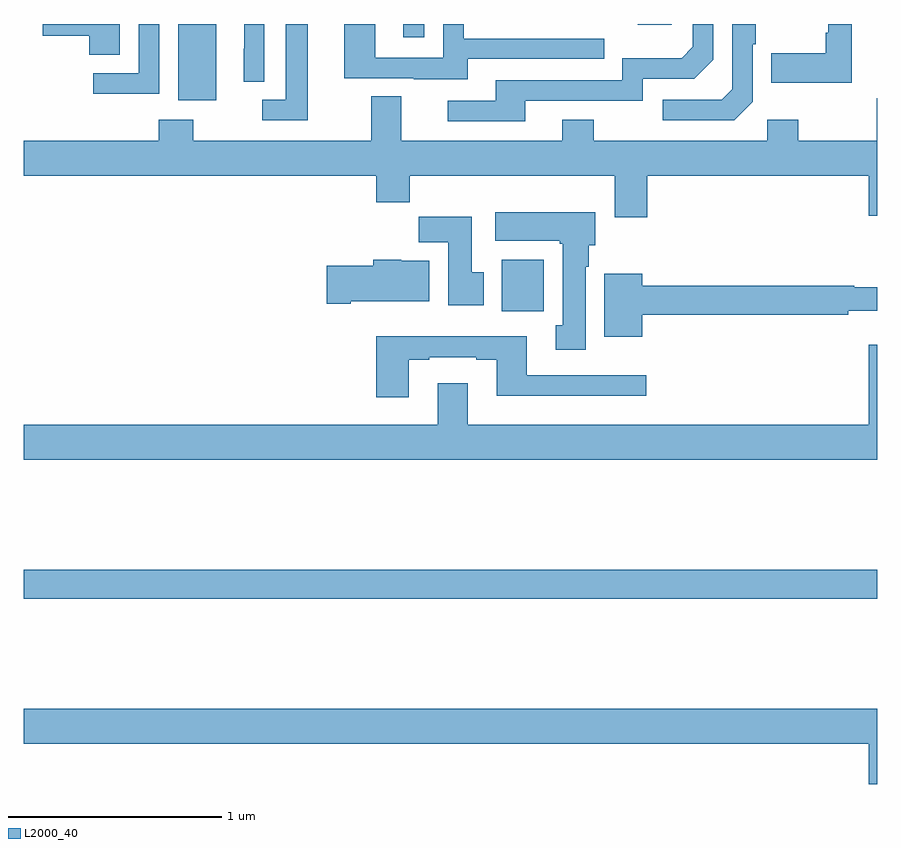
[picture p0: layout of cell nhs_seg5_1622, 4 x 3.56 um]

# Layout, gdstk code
import gdstk
lib = gdstk.Library(unit=1e-6, precision=1e-09)
def R(c, l, rs):  # rectangles x0, y0, x1, y1
    for r in rs: c.add(gdstk.rectangle(r[:2], r[2:], *l))
def P(c, l, *ps):  # polygons
    for p in ps: c.add(gdstk.Polygon(p, *l))
L2000_40 = (2000, 40)

nhs_seg5_1622 = lib.new_cell('nhs_seg5_1622')
R(nhs_seg5_1622, L2000_40, [(209,860.104,213,860.24), (211.241,861.452,211.438,861.694), (209.723,862.442,209.902,862.799), (210.779,862.737,210.876,862.799), (211.877,862.796,212.038,862.799)])
P(nhs_seg5_1622, L2000_40, [(210.331,862.799),(210.227,862.799),(210.227,862.443),(210.117,862.443),(210.117,862.347),(210.331,862.347)],
  [(211.351,862.44),(211.902,862.44),(211.902,862.542),(212.142,862.542),(212.232,862.632),(212.232,862.799),(212.136,862.799),(212.136,862.692),(212.083,862.639),(211.806,862.639),(211.806,862.536),(211.211,862.536),(211.211,862.44),(210.987,862.44),(210.987,862.344),(211.351,862.344)],
  [(212.418,862.434),(212.418,862.703),(212.431,862.703),(212.431,862.799),(212.322,862.799),(212.322,862.494),(212.271,862.443),(211.995,862.443),(211.995,862.347),(212.331,862.347)],
  [(210.126,862.799),(210.032,862.799),(210.032,862.682),(210.03,862.682),(210.03,862.528),(210.126,862.528)],
  [(209.634,862.799),(209.538,862.799),(209.538,862.569),(209.325,862.569),(209.325,862.471),(209.634,862.471)],
  [(212.881,862.799),(212.772,862.799),(212.772,862.759),(212.76,862.759),(212.76,862.663),(212.503,862.663),(212.503,862.523),(212.881,862.523)],
  [(211.081,862.635),(211.721,862.635),(211.721,862.731),(211.062,862.731),(211.062,862.799),(210.966,862.799),(210.966,862.641),(210.648,862.641),(210.648,862.799),(210.503,862.799),(210.503,862.545),(210.827,862.545),(210.827,862.541),(211.081,862.541)],
  [(209.449,862.799),(209.088,862.799),(209.088,862.745),(209.306,862.745),(209.306,862.654),(209.449,862.654)],
  [(210.629,862.252),(209.793,862.252),(209.793,862.351),(209.633,862.351),(209.633,862.252),(209,862.252),(209,862.088),(210.653,862.088),(210.653,861.964),(210.809,861.964),(210.809,862.088),(211.769,862.088),(211.769,861.894),(211.922,861.894),(211.922,862.088),(212.96,862.088),(212.96,861.9),(213,861.9),(213,862.451),(212.998,862.451),(212.998,862.252),(212.631,862.252),(212.631,862.351),(212.484,862.351),(212.484,862.252),(211.671,862.252),(211.671,862.351),(211.523,862.351),(211.523,862.252),(210.769,862.252),(210.769,862.46),(210.629,862.46)],
  [(211.633,861.662),(211.648,861.662),(211.648,861.762),(211.678,861.762),(211.678,861.916),(211.209,861.916),(211.209,861.782),(211.513,861.782),(211.513,861.769),(211.526,861.769),(211.526,861.386),(211.493,861.386),(211.493,861.273),(211.633,861.273)],
  [(211.156,861.636),(211.099,861.636),(211.099,861.895),(210.85,861.895),(210.85,861.776),(210.989,861.776),(210.989,861.48),(211.156,861.48)],
  [(210.532,861.5),(210.901,861.5),(210.901,861.688),(210.768,861.688),(210.768,861.694),(210.638,861.694),(210.638,861.666),(210.42,861.666),(210.42,861.488),(210.532,861.488)],
  [(211.9,861.436),(212.864,861.436),(212.864,861.455),(213,861.455),(213,861.565),(212.893,861.565),(212.893,861.572),(211.9,861.572),(211.9,861.628),(211.721,861.628),(211.721,861.332),(211.9,861.332)],
  [(210.805,861.225),(210.901,861.225),(210.901,861.237),(211.121,861.237),(211.121,861.225),(211.217,861.225),(211.217,861.056),(211.918,861.056),(211.918,861.153),(211.357,861.153),(211.357,861.334),(210.653,861.334),(210.653,861.048),(210.805,861.048)],
  [(213,861.295),(212.96,861.295),(212.96,860.92),(211.081,860.92),(211.081,861.115),(210.941,861.115),(210.941,860.92),(209,860.92),(209,860.756),(213,860.756)],
  [(213,859.588),(209,859.588),(209,859.424),(212.96,859.424),(212.96,859.236),(213,859.236)])

lib.write_gds('nhs_seg5_1622.gds')
